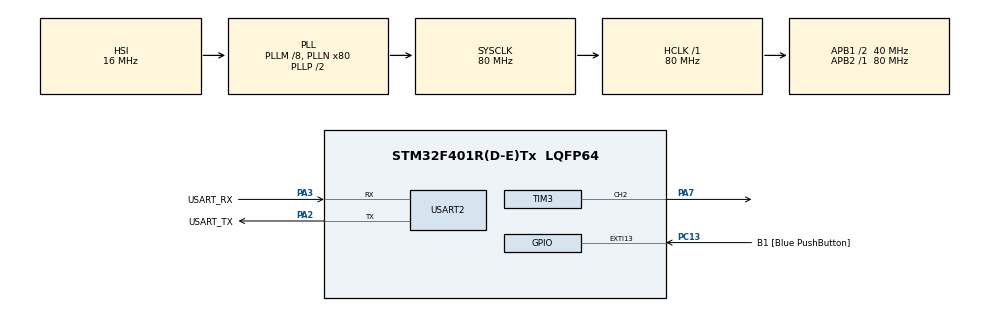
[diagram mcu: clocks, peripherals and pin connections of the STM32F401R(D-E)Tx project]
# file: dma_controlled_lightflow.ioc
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Dma.Request0=TIM3_CH2
Dma.TIM3_CH2.0.Direction=DMA_MEMORY_TO_PERIPH
Dma.TIM3_CH2.0.FIFOMode=DMA_FIFOMODE_ENABLE
Dma.TIM3_CH2.0.FIFOThreshold=DMA_FIFO_THRESHOLD_FULL
Dma.TIM3_CH2.0.Instance=DMA1_Stream5
Dma.TIM3_CH2.0.MemBurst=DMA_MBURST_SINGLE
Dma.TIM3_CH2.0.MemDataAlignment=DMA_MDATAALIGN_HALFWORD
Dma.TIM3_CH2.0.MemInc=DMA_MINC_ENABLE
Dma.TIM3_CH2.0.Mode=DMA_NORMAL
Dma.TIM3_CH2.0.PeriphBurst=DMA_PBURST_SINGLE
Dma.TIM3_CH2.0.PeriphDataAlignment=DMA_PDATAALIGN_HALFWORD
Dma.TIM3_CH2.0.PeriphInc=DMA_PINC_DISABLE
Dma.TIM3_CH2.0.Priority=DMA_PRIORITY_HIGH
Mcu.Family=STM32F4
Mcu.Name=STM32F401R(D-E)Tx
Mcu.Package=LQFP64
NVIC.DMA1_Stream5_IRQn=true\:0\:0\:false\:false\:true\:false\:true\:true
NVIC.PriorityGroup=NVIC_PRIORITYGROUP_0
NVIC.TIM3_IRQn=true\:0\:0\:false\:false\:true\:true\:true\:true
PA13.GPIO_Label=TMS
PA13.Mode=Serial_Wire
PA13.Signal=SYS_JTMS-SWDIO
PA14.GPIO_Label=TCK
PA14.Mode=Serial_Wire
PA14.Signal=SYS_JTCK-SWCLK
PA2.GPIO_Label=USART_TX
PA2.GPIO_Mode=GPIO_MODE_AF_PP
PA2.GPIO_PuPd=GPIO_NOPULL
PA2.GPIO_Speed=GPIO_SPEED_FREQ_LOW
PA2.Mode=Asynchronous
PA2.Signal=USART2_TX
PA3.GPIO_Label=USART_RX
PA3.GPIO_Mode=GPIO_MODE_AF_PP
PA3.GPIO_PuPd=GPIO_NOPULL
PA3.GPIO_Speed=GPIO_SPEED_FREQ_LOW
PA3.Mode=Asynchronous
PA3.Signal=USART2_RX
PA7.Signal=S_TIM3_CH2
PB3.GPIO_Label=SWO
PB3.Signal=SYS_JTDO-SWO
PC13-ANTI_TAMP.GPIO_Label=B1 [Blue PushButton]
PC13-ANTI_TAMP.GPIO_ModeDefaultEXTI=GPIO_MODE_IT_FALLING
PC13-ANTI_TAMP.GPIO_PuPd=GPIO_NOPULL
PC13-ANTI_TAMP.Signal=GPXTI13
PC14-OSC32_IN.Mode=LSE-External-Oscillator
PC14-OSC32_IN.Signal=RCC_OSC32_IN
PC15-OSC32_OUT.Mode=LSE-External-Oscillator
PC15-OSC32_OUT.Signal=RCC_OSC32_OUT
PH0\ -\ OSC_IN.Mode=HSE-External-Clock-Source
PH0\ -\ OSC_IN.Signal=RCC_OSC_IN
PH1\ -\ OSC_OUT.Mode=HSE-External-Clock-Source
PH1\ -\ OSC_OUT.Signal=RCC_OSC_OUT
ProjectManager.HeapSize=0x200
ProjectManager.StackSize=0x400
ProjectManager.TargetToolchain=STM32CubeIDE
RCC.48MHZClocksFreq_Value=22857142.85714286
RCC.AHBFreq_Value=80000000
RCC.APB1CLKDivider=RCC_HCLK_DIV2
RCC.APB1Freq_Value=40000000
RCC.APB1TimFreq_Value=80000000
RCC.APB2Freq_Value=80000000
RCC.APB2TimFreq_Value=80000000
RCC.CortexFreq_Value=80000000
RCC.HCLKFreq_Value=80000000
RCC.HSE_VALUE=8000000
RCC.HSI_VALUE=16000000
RCC.PLLM=8
RCC.PLLN=80
RCC.PLLQ=7
RCC.SYSCLKFreq_VALUE=80000000
RCC.SYSCLKSource=RCC_SYSCLKSOURCE_PLLCLK
RCC.VCOOutputFreq_Value=160000000
SH.S_TIM3_CH2.0=TIM3_CH2,PWM Generation2 CH2
TIM2.Period=100
TIM2.Prescaler=1
TIM3.Channel-PWM\ Generation2\ CH2=TIM_CHANNEL_2
TIM3.Period=100
TIM3.Prescaler=1-1
USART2.VirtualMode=VM_ASYNC
VP_TIM2_VS_ClockSourceINT.Mode=Internal
VP_TIM3_VS_ClockSourceINT.Mode=Internal
board=NUCLEO-F401RE

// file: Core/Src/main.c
/* USER CODE BEGIN Header */
/**
  ******************************************************************************
  * @file           : main.c
  * @brief          : Main program body
  ******************************************************************************
  * @attention
  *
  * Copyright (c) 2024 STMicroelectronics.
  * All rights reserved.
  *
  * This software is licensed under terms that can be found in the LICENSE file
  * in the root directory of this software component.
  * If no LICENSE file comes with this software, it is provided AS-IS.
  *
  ******************************************************************************
  */
/* USER CODE END Header */
#include "main.h"

/* USER CODE BEGIN Includes */
#include "ws2812b.h"
#include <stdio.h>

/* USER CODE END Includes */

TIM_HandleTypeDef htim2;
TIM_HandleTypeDef htim3;
DMA_HandleTypeDef hdma_tim3_ch2;

UART_HandleTypeDef huart2;

void SystemClock_Config(void);
static void MX_GPIO_Init(void);
static void MX_DMA_Init(void);
static void MX_USART2_UART_Init(void);
static void MX_TIM2_Init(void);
static void MX_TIM3_Init(void);

/* USER CODE BEGIN 0 */
void HAL_TIM_PWM_PulseFinishedCallback(TIM_HandleTypeDef *htim){

	HAL_TIM_PWM_Stop_DMA(&htim, WS2812B_TIMER_CHANNEL);

}

/* USER CODE END 0 */

int main(void)
{

  /* MCU Configuration--------------------------------------------------------*/

  /* Reset of all peripherals, Initializes the Flash interface and the Systick. */
  HAL_Init();

  /* Configure the system clock */
  SystemClock_Config();

  /* Initialize all configured peripherals */
  MX_GPIO_Init();
  MX_DMA_Init();
  MX_USART2_UART_Init();
  MX_TIM2_Init();
  MX_TIM3_Init();
  /* USER CODE BEGIN 2 */

  ws2812b led_array[WS2812B_LED_COUNT];

  led_array[0].g = 0;
  led_array[0].r = 0;
  led_array[0].b = 255;

  led_array[1].g = 0;
  led_array[1].r = 255;
  led_array[1].b = 0;

  led_array[2].g = 255;
  led_array[2].r = 0;
  led_array[2].b = 0;

  led_array[3].g = 255;
  led_array[3].r = 0;
  led_array[3].b = 255;

  led_array[4].g = 0;
  led_array[4].r = 120;
  led_array[4].b = 255;

  //Initialize the buffer with empyy values
  ws2812b_init();

  // Update the buffer with all the duty cycle values
  ws2812b_update_dma_buff(led_array);

  //Start the timer in PWM mode and set the CC1DE DMA request enable bit so that the DMA transfers data from memory to the CCR register for PWM generation
 /* HAL_TIM_PWM_Start_DMA(&htim3, htim3_CHANNEL, WS2812B_DMA_BUFF, WS2812B_NUM_BITS);*/

  ws2812b_start_dma_transfer();

  /* USER CODE END 2 */

  /* Infinite loop */
  while (1)
  {

  }
}

void SystemClock_Config(void)
{
  RCC_OscInitTypeDef RCC_OscInitStruct = {0};
  RCC_ClkInitTypeDef RCC_ClkInitStruct = {0};

  /** Configure the main internal regulator output voltage
  */
  __HAL_RCC_PWR_CLK_ENABLE();
  __HAL_PWR_VOLTAGESCALING_CONFIG(PWR_REGULATOR_VOLTAGE_SCALE2);

  /** Initializes the RCC Oscillators according to the specified parameters
  * in the RCC_OscInitTypeDef structure.
  */
  RCC_OscInitStruct.OscillatorType = RCC_OSCILLATORTYPE_HSI;
  RCC_OscInitStruct.HSIState = RCC_HSI_ON;
  RCC_OscInitStruct.HSICalibrationValue = RCC_HSICALIBRATION_DEFAULT;
  RCC_OscInitStruct.PLL.PLLState = RCC_PLL_ON;
  RCC_OscInitStruct.PLL.PLLSource = RCC_PLLSOURCE_HSI;
  RCC_OscInitStruct.PLL.PLLM = 8;
  RCC_OscInitStruct.PLL.PLLN = 80;
  RCC_OscInitStruct.PLL.PLLP = RCC_PLLP_DIV2;
  RCC_OscInitStruct.PLL.PLLQ = 7;
  if (HAL_RCC_OscConfig(&RCC_OscInitStruct) != HAL_OK)
  {
    Error_Handler();
  }

  /** Initializes the CPU, AHB and APB buses clocks
  */
  RCC_ClkInitStruct.ClockType = RCC_CLOCKTYPE_HCLK|RCC_CLOCKTYPE_SYSCLK
                              |RCC_CLOCKTYPE_PCLK1|RCC_CLOCKTYPE_PCLK2;
  RCC_ClkInitStruct.SYSCLKSource = RCC_SYSCLKSOURCE_PLLCLK;
  RCC_ClkInitStruct.AHBCLKDivider = RCC_SYSCLK_DIV1;
  RCC_ClkInitStruct.APB1CLKDivider = RCC_HCLK_DIV2;
  RCC_ClkInitStruct.APB2CLKDivider = RCC_HCLK_DIV1;

  if (HAL_RCC_ClockConfig(&RCC_ClkInitStruct, FLASH_LATENCY_2) != HAL_OK)
  {
    Error_Handler();
  }
}

static void MX_TIM2_Init(void)
{

  TIM_ClockConfigTypeDef sClockSourceConfig = {0};
  TIM_MasterConfigTypeDef sMasterConfig = {0};

  htim2.Instance = TIM2;
  htim2.Init.Prescaler = 1;
  htim2.Init.CounterMode = TIM_COUNTERMODE_UP;
  htim2.Init.Period = 100;
  htim2.Init.ClockDivision = TIM_CLOCKDIVISION_DIV1;
  htim2.Init.AutoReloadPreload = TIM_AUTORELOAD_PRELOAD_DISABLE;
  if (HAL_TIM_Base_Init(&htim2) != HAL_OK)
  {
    Error_Handler();
  }
  sClockSourceConfig.ClockSource = TIM_CLOCKSOURCE_INTERNAL;
  if (HAL_TIM_ConfigClockSource(&htim2, &sClockSourceConfig) != HAL_OK)
  {
    Error_Handler();
  }
  sMasterConfig.MasterOutputTrigger = TIM_TRGO_RESET;
  sMasterConfig.MasterSlaveMode = TIM_MASTERSLAVEMODE_DISABLE;
  if (HAL_TIMEx_MasterConfigSynchronization(&htim2, &sMasterConfig) != HAL_OK)
  {
    Error_Handler();
  }

}

static void MX_TIM3_Init(void)
{

  TIM_ClockConfigTypeDef sClockSourceConfig = {0};
  TIM_MasterConfigTypeDef sMasterConfig = {0};
  TIM_OC_InitTypeDef sConfigOC = {0};

  htim3.Instance = TIM3;
  htim3.Init.Prescaler = 1-1;
  htim3.Init.CounterMode = TIM_COUNTERMODE_UP;
  htim3.Init.Period = 100;
  htim3.Init.ClockDivision = TIM_CLOCKDIVISION_DIV1;
  htim3.Init.AutoReloadPreload = TIM_AUTORELOAD_PRELOAD_DISABLE;
  if (HAL_TIM_Base_Init(&htim3) != HAL_OK)
  {
    Error_Handler();
  }
  sClockSourceConfig.ClockSource = TIM_CLOCKSOURCE_INTERNAL;
  if (HAL_TIM_ConfigClockSource(&htim3, &sClockSourceConfig) != HAL_OK)
  {
    Error_Handler();
  }
  if (HAL_TIM_PWM_Init(&htim3) != HAL_OK)
  {
    Error_Handler();
  }
  sMasterConfig.MasterOutputTrigger = TIM_TRGO_RESET;
  sMasterConfig.MasterSlaveMode = TIM_MASTERSLAVEMODE_DISABLE;
  if (HAL_TIMEx_MasterConfigSynchronization(&htim3, &sMasterConfig) != HAL_OK)
  {
    Error_Handler();
  }
  sConfigOC.OCMode = TIM_OCMODE_PWM1;
  sConfigOC.Pulse = 0;
  sConfigOC.OCPolarity = TIM_OCPOLARITY_HIGH;
  sConfigOC.OCFastMode = TIM_OCFAST_DISABLE;
  if (HAL_TIM_PWM_ConfigChannel(&htim3, &sConfigOC, TIM_CHANNEL_2) != HAL_OK)
  {
    Error_Handler();
  }
  HAL_TIM_MspPostInit(&htim3);

}

static void MX_USART2_UART_Init(void)
{

  huart2.Instance = USART2;
  huart2.Init.BaudRate = 115200;
  huart2.Init.WordLength = UART_WORDLENGTH_8B;
  huart2.Init.StopBits = UART_STOPBITS_1;
  huart2.Init.Parity = UART_PARITY_NONE;
  huart2.Init.Mode = UART_MODE_TX_RX;
  huart2.Init.HwFlowCtl = UART_HWCONTROL_NONE;
  huart2.Init.OverSampling = UART_OVERSAMPLING_16;
  if (HAL_UART_Init(&huart2) != HAL_OK)
  {
    Error_Handler();
  }

}

static void MX_DMA_Init(void)
{

  /* DMA controller clock enable */
  __HAL_RCC_DMA1_CLK_ENABLE();

  /* DMA interrupt init */
  /* DMA1_Stream5_IRQn interrupt configuration */
  HAL_NVIC_SetPriority(DMA1_Stream5_IRQn, 0, 0);
  HAL_NVIC_EnableIRQ(DMA1_Stream5_IRQn);

}

static void MX_GPIO_Init(void)
{
  GPIO_InitTypeDef GPIO_InitStruct = {0};

  /* GPIO Ports Clock Enable */
  __HAL_RCC_GPIOC_CLK_ENABLE();
  __HAL_RCC_GPIOH_CLK_ENABLE();
  __HAL_RCC_GPIOA_CLK_ENABLE();
  __HAL_RCC_GPIOB_CLK_ENABLE();

  /*Configure GPIO pin : B1_Pin */
  GPIO_InitStruct.Pin = B1_Pin;
  GPIO_InitStruct.Mode = GPIO_MODE_IT_FALLING;
  GPIO_InitStruct.Pull = GPIO_NOPULL;
  HAL_GPIO_Init(B1_GPIO_Port, &GPIO_InitStruct);

}

/* USER CODE BEGIN 4 */
void ws2812b_start_dma_transfer(){

	 HAL_StatusTypeDef ret = HAL_TIM_PWM_Start_DMA(&htim3, WS2812B_TIMER_CHANNEL, (uint32_t*)WS2812B_DMA_BUFF, WS2812B_DMA_BUFF_LEN);

	 if(ret != HAL_OK){
	 	  HAL_BUSY;
	   }

}
/* USER CODE END 4 */

void Error_Handler(void)
{
  __disable_irq();
  while (1)
  {
  }
}
